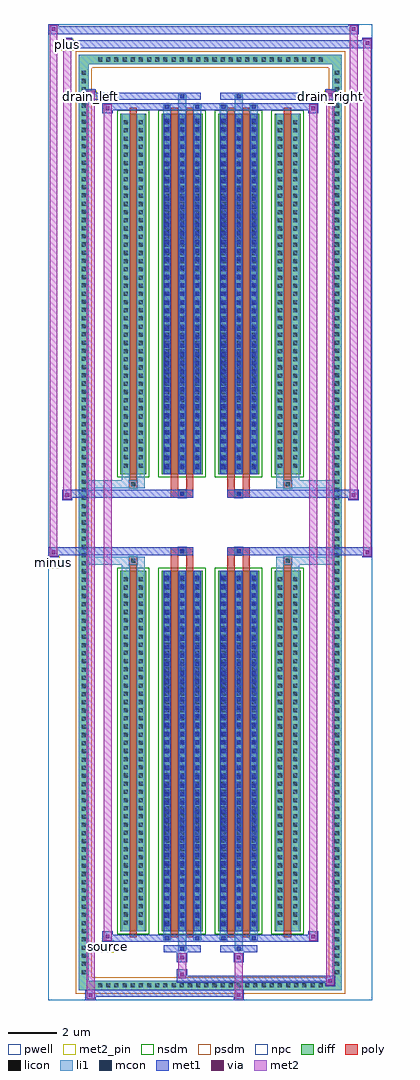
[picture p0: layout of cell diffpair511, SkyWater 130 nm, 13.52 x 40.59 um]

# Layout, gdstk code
import gdstk
lib = gdstk.Library(unit=1e-6, precision=5e-09)
def R(c, l, rs):  # rectangles x0, y0, x1, y1
    for r in rs: c.add(gdstk.rectangle(r[:2], r[2:], *l))
def A(c, l, x, y, w, h, nx, ny, dx, dy):  # array of equal rectangles
    R(c, l, [(x+i*dx, y+j*dy, x+i*dx+w, y+j*dy+h) for i in range(nx) for j in range(ny)])
def P(c, l, *ps):  # polygons
    for p in ps: c.add(gdstk.Polygon(p, *l))
pwell = (64, 44)
diff = (65, 20)
poly = (66, 20)
licon = (66, 44)
li1 = (67, 20)
mcon = (67, 44)
met1 = (68, 20)
via = (68, 44)
met2_pin = (69, 16)
met2 = (69, 20)
nsdm = (93, 44)
psdm = (94, 20)
npc = (95, 20)

diffpair511 = lib.new_cell('diffpair511')
R(diffpair511, pwell, [(-6.74,-19.86,6.74,20.73), (-4.06,-18.05,-0.01,-0.825), (0.01,-18.05,4.06,-0.825), (-4.06,0.825,-0.01,18.05), (0.01,0.825,4.06,18.05)])
A(diffpair511, diff, -4.795, -19.46, 0.41, 0.41, 28, 2, 0.34, 38.51)
A(diffpair511, diff, -5.47, -18.905, 0.41, 0.41, 1, 111, 0, 0.34)
A(diffpair511, diff, 5.06, -18.905, 0.41, 0.41, 1, 111, 0, 0.34)
R(diffpair511, diff, [(-4.795,-19.46,4.795,-19.05), (-5.47,-18.905,-5.06,18.905), (5.06,-18.905,5.47,18.905), (-3.75,-17.005,-2.67,-2.005), (-2.03,-17.005,-0.32,-2.005), (0.32,-17.005,2.03,-2.005), (2.67,-17.005,3.75,-2.005), (-3.75,2.005,-2.67,17.005), (-2.03,2.005,-0.32,17.005), (0.32,2.005,2.03,17.005), (2.67,2.005,3.75,17.005), (-4.795,19.05,4.795,19.46)])
P(diffpair511, diff, [(5.47,19.46),(-5.47,19.46),(-5.47,-19.05),(-5.06,-19.05),(-5.06,19.05),(5.06,19.05),(5.06,-19.05),(-5.06,-19.05),(-5.47,-19.05),(-5.47,-19.46),(5.47,-19.46)])
R(diffpair511, poly, [(-3.36,-17.255,-3.06,-1.755), (-1.64,-17.255,-1.34,-1.755), (-1.01,-17.255,-0.71,-1.755), (0.71,-17.255,1.01,-1.755), (1.34,-17.255,1.64,-1.755), (3.06,-17.255,3.36,-1.755), (-3.375,-1.755,-3.045,-1.425), (-3.375,-1.755,-3.045,-1.425), (-1.64,-1.755,-1.34,-1.355), (-1.01,-1.755,-0.71,-1.355), (0.71,-1.755,1.01,-1.355), (1.34,-1.755,1.64,-1.355), (3.045,-1.755,3.375,-1.425), (3.045,-1.755,3.375,-1.425), (-1.64,-1.355,-0.71,-1.025), (-1.34,-1.355,-1.01,-1.025), (0.71,-1.355,1.64,-1.025), (1.01,-1.355,1.34,-1.025), (-1.64,1.025,-0.71,1.355), (-1.34,1.025,-1.01,1.355), (0.71,1.025,1.64,1.355), (1.01,1.025,1.34,1.355), (-1.64,1.355,-1.34,1.755), (-1.01,1.355,-0.71,1.755), (0.71,1.355,1.01,1.755), (1.34,1.355,1.64,1.755), (-3.375,1.425,-3.045,1.755), (-3.375,1.425,-3.045,1.755), (3.045,1.425,3.375,1.755), (3.045,1.425,3.375,1.755), (-3.36,1.755,-3.06,17.255), (-1.64,1.755,-1.34,17.255), (-1.01,1.755,-0.71,17.255), (0.71,1.755,1.01,17.255), (1.34,1.755,1.64,17.255), (3.06,1.755,3.36,17.255)])
A(diffpair511, licon, -4.675, -19.34, 0.17, 0.17, 28, 2, 0.34, 38.51)
A(diffpair511, licon, -5.35, -18.785, 0.17, 0.17, 1, 111, 0, 0.34)
A(diffpair511, licon, 5.18, -18.785, 0.17, 0.17, 1, 111, 0, 0.34)
A(diffpair511, licon, -3.61, -16.73, 0.17, 0.17, 1, 43, 0, 0.34)
A(diffpair511, licon, -2.98, -16.73, 0.17, 0.17, 1, 43, 0, 0.34)
A(diffpair511, licon, -1.89, -16.73, 0.17, 0.17, 3, 43, 0.63, 0.34)
A(diffpair511, licon, 0.46, -16.73, 0.17, 0.17, 3, 43, 0.63, 0.34)
A(diffpair511, licon, 2.81, -16.73, 0.17, 0.17, 1, 43, 0, 0.34)
A(diffpair511, licon, 3.44, -16.73, 0.17, 0.17, 1, 43, 0, 0.34)
A(diffpair511, licon, -3.61, 2.28, 0.17, 0.17, 1, 43, 0, 0.34)
A(diffpair511, licon, -2.98, 2.28, 0.17, 0.17, 1, 43, 0, 0.34)
A(diffpair511, licon, -1.89, 2.28, 0.17, 0.17, 3, 43, 0.63, 0.34)
A(diffpair511, licon, 0.46, 2.28, 0.17, 0.17, 3, 43, 0.63, 0.34)
A(diffpair511, licon, 2.81, 2.28, 0.17, 0.17, 1, 43, 0, 0.34)
A(diffpair511, licon, 3.44, 2.28, 0.17, 0.17, 1, 43, 0, 0.34)
R(diffpair511, licon, [(-3.295,-1.675,-3.125,-1.505), (3.125,-1.675,3.295,-1.505), (-1.26,-1.275,-1.09,-1.105), (1.09,-1.275,1.26,-1.105), (-1.26,1.105,-1.09,1.275), (1.09,1.105,1.26,1.275), (-3.295,1.505,-3.125,1.675), (3.125,1.505,3.295,1.675)])
A(diffpair511, li1, -4.755, -19.42, 0.33, 0.33, 28, 2, 0.34, 38.51)
A(diffpair511, li1, -5.43, -18.865, 0.33, 0.33, 1, 111, 0, 0.34)
A(diffpair511, li1, 5.1, -18.865, 0.33, 0.33, 1, 111, 0, 0.34)
A(diffpair511, li1, -1.97, -17.005, 0.33, 15, 3, 2, 0.63, 19.01)
A(diffpair511, li1, 0.38, -17.005, 0.33, 15, 3, 2, 0.63, 19.01)
A(diffpair511, li1, -3.69, -16.81, 0.33, 0.33, 1, 43, 0, 0.34)
A(diffpair511, li1, -3.06, -16.81, 0.33, 0.33, 1, 43, 0, 0.34)
A(diffpair511, li1, -1.97, -16.81, 0.33, 0.33, 3, 43, 0.63, 0.34)
A(diffpair511, li1, 0.38, -16.81, 0.33, 0.33, 3, 43, 0.63, 0.34)
A(diffpair511, li1, 2.73, -16.81, 0.33, 0.33, 1, 43, 0, 0.34)
A(diffpair511, li1, 3.36, -16.81, 0.33, 0.33, 1, 43, 0, 0.34)
A(diffpair511, li1, -1.89, -16.79, 0.17, 0.17, 3, 41, 0.63, 0.36)
A(diffpair511, li1, -1.89, -16.79, 0.17, 14.57, 3, 2, 0.63, 19.01)
A(diffpair511, li1, 0.46, -16.79, 0.17, 0.17, 3, 41, 0.63, 0.36)
A(diffpair511, li1, 0.46, -16.79, 0.17, 14.57, 3, 2, 0.63, 19.01)
A(diffpair511, li1, -3.69, 2.2, 0.33, 0.33, 1, 43, 0, 0.34)
A(diffpair511, li1, -3.06, 2.2, 0.33, 0.33, 1, 43, 0, 0.34)
A(diffpair511, li1, -1.97, 2.2, 0.33, 0.33, 3, 43, 0.63, 0.34)
A(diffpair511, li1, 0.38, 2.2, 0.33, 0.33, 3, 43, 0.63, 0.34)
A(diffpair511, li1, 2.73, 2.2, 0.33, 0.33, 1, 43, 0, 0.34)
A(diffpair511, li1, 3.36, 2.2, 0.33, 0.33, 1, 43, 0, 0.34)
A(diffpair511, li1, -1.89, 2.22, 0.17, 0.17, 3, 41, 0.63, 0.36)
A(diffpair511, li1, 0.46, 2.22, 0.17, 0.17, 3, 41, 0.63, 0.36)
R(diffpair511, li1, [(-5.47,-19.46,-5.06,-19.05), (-5.47,-19.46,-5.06,-19.05), (-5.06,-19.46,5.06,-19.05), (5.06,-19.46,5.47,-19.05), (5.06,-19.46,5.47,-19.05), (-5.47,-19.05,-5.06,19.05), (5.06,-19.05,5.47,19.05), (-1.34,-17.81,-1.01,-17.005), (-1.26,-17.81,-1.09,-17.64), (1.01,-17.81,1.34,-17.005), (1.09,-17.81,1.26,-17.64), (-1.97,-17.38,-1.64,-17.005), (-1.89,-17.38,-1.72,-17.21), (-0.71,-17.38,-0.38,-17.005), (-0.63,-17.38,-0.46,-17.21), (0.38,-17.38,0.71,-17.005), (0.46,-17.38,0.63,-17.21), (1.64,-17.38,1.97,-17.005), (1.72,-17.38,1.89,-17.21), (-3.69,-17.005,-3.36,-2.005), (-3.06,-17.005,-2.73,-2.005), (2.73,-17.005,3.06,-2.005), (3.36,-17.005,3.69,-2.005), (-3.69,-2.005,-3.36,-1.425), (-3.06,-2.005,-2.73,-1.425), (2.73,-2.005,3.06,-1.425), (3.36,-2.005,3.69,-1.425), (-5.47,-1.755,-3.375,-1.425), (-3.69,-1.755,-3.375,-1.425), (-3.375,-1.755,-3.045,-1.425), (-3.045,-1.755,-2.73,-1.425), (2.73,-1.755,3.045,-1.425), (3.045,-1.755,3.375,-1.425), (3.045,-1.755,5.47,-1.425), (3.375,-1.755,3.69,-1.425), (-1.34,-1.355,-1.01,-1.025), (1.01,-1.355,1.34,-1.025), (-1.34,1.025,-1.01,1.355), (1.01,1.025,1.34,1.355), (-5.47,1.425,-3.375,1.755), (-3.69,1.425,-3.375,1.755), (-3.69,1.425,-3.36,2.005), (-3.375,1.425,-3.045,1.755), (-3.06,1.425,-2.73,2.005), (-3.045,1.425,-2.73,1.755), (2.73,1.425,3.045,1.755), (2.73,1.425,3.06,2.005), (3.045,1.425,3.375,1.755), (3.045,1.425,5.47,1.755), (3.36,1.425,3.69,2.005), (3.375,1.425,3.69,1.755), (-3.69,2.005,-3.36,17.005), (-3.06,2.005,-2.73,17.005), (2.73,2.005,3.06,17.005), (3.36,2.005,3.69,17.005), (-1.97,17.005,-1.64,17.38), (-1.34,17.005,-1.01,17.81), (-0.71,17.005,-0.38,17.38), (0.38,17.005,0.71,17.38), (1.01,17.005,1.34,17.81), (1.64,17.005,1.97,17.38), (-1.89,17.21,-1.72,17.38), (-0.63,17.21,-0.46,17.38), (0.46,17.21,0.63,17.38), (1.72,17.21,1.89,17.38), (-1.26,17.64,-1.09,17.81), (1.09,17.64,1.26,17.81), (-5.47,19.05,-5.06,19.46), (-5.47,19.05,-5.06,19.46), (-5.06,19.05,5.06,19.46), (5.06,19.05,5.47,19.46), (5.06,19.05,5.47,19.46)])
A(diffpair511, mcon, -1.89, -16.79, 0.17, 0.17, 3, 41, 0.63, 0.36)
A(diffpair511, mcon, 0.46, -16.79, 0.17, 0.17, 3, 41, 0.63, 0.36)
A(diffpair511, mcon, -1.89, 2.22, 0.17, 0.17, 3, 41, 0.63, 0.36)
A(diffpair511, mcon, 0.46, 2.22, 0.17, 0.17, 3, 41, 0.63, 0.36)
R(diffpair511, mcon, [(-1.26,-17.81,-1.09,-17.64), (1.09,-17.81,1.26,-17.64), (-1.89,-17.38,-1.72,-17.21), (-0.63,-17.38,-0.46,-17.21), (0.46,-17.38,0.63,-17.21), (1.72,-17.38,1.89,-17.21), (-1.26,-1.275,-1.09,-1.105), (1.09,-1.275,1.26,-1.105), (-1.26,1.105,-1.09,1.275), (1.09,1.105,1.26,1.275), (-1.89,17.21,-1.72,17.38), (-0.63,17.21,-0.46,17.38), (0.46,17.21,0.63,17.38), (1.72,17.21,1.89,17.38), (-1.26,17.64,-1.09,17.81), (1.09,17.64,1.26,17.81)])
A(diffpair511, met1, -1.95, -17.005, 0.29, 15, 3, 2, 0.63, 19.01)
A(diffpair511, met1, 0.4, -17.005, 0.29, 15, 3, 2, 0.63, 19.01)
A(diffpair511, met1, -1.95, -16.85, 0.29, 0.29, 3, 41, 0.63, 0.36)
A(diffpair511, met1, 0.4, -16.85, 0.29, 0.29, 3, 41, 0.63, 0.36)
A(diffpair511, met1, -1.95, 2.16, 0.29, 0.29, 3, 41, 0.63, 0.36)
A(diffpair511, met1, 0.4, 2.16, 0.29, 0.29, 3, 41, 0.63, 0.36)
R(diffpair511, met1, [(-5.2,-19.86,-4.77,-19.43), (0.96,-19.86,1.39,-19.43), (-5.2,-19.72,1.39,-19.43), (4.77,-19.29,5.2,-18.86), (-1.39,-19.15,5.2,-18.86), (-1.39,-19.01,-0.96,-18.58), (-1.39,-18.3,-0.96,-17.87), (0.96,-18.3,1.39,-17.87), (-1.95,-17.87,-0.4,-17.58), (-1.32,-17.87,-1.03,-17.58), (0.4,-17.87,1.95,-17.58), (1.03,-17.87,1.32,-17.58), (-4.49,-17.44,-4.06,-17.01), (-4.49,-17.44,-1.95,-17.15), (-1.95,-17.44,-1.66,-17.15), (-1.95,-17.44,-0.4,-17.15), (-0.69,-17.44,-0.4,-17.15), (-0.4,-17.44,0.4,-17.15), (0.4,-17.44,0.69,-17.15), (0.4,-17.44,1.95,-17.15), (1.66,-17.44,1.95,-17.15), (1.95,-17.44,4.49,-17.15), (4.06,-17.44,4.49,-17.01), (-6.74,-1.455,-6.31,-1.025), (6.31,-1.455,6.74,-1.025), (-6.74,-1.355,-0.71,-1.025), (-1.64,-1.355,-0.71,-1.025), (0.71,-1.355,1.64,-1.025), (0.71,-1.355,6.74,-1.025), (-1.32,-1.335,-1.03,-1.045), (1.03,-1.335,1.32,-1.045), (-6.17,0.925,-5.74,1.355), (5.74,0.925,6.17,1.355), (-6.17,1.025,-1.64,1.355), (-1.64,1.025,-0.71,1.355), (0.71,1.025,1.64,1.355), (1.64,1.025,6.17,1.355), (-1.32,1.045,-1.03,1.335), (1.03,1.045,1.32,1.335), (-4.49,17.01,-4.06,17.44), (4.06,17.01,4.49,17.44), (-4.49,17.15,-1.95,17.44), (-1.95,17.15,-1.66,17.44), (-1.95,17.15,-0.4,17.44), (-0.69,17.15,-0.4,17.44), (-0.4,17.15,0.4,17.44), (0.4,17.15,0.69,17.44), (0.4,17.15,1.95,17.44), (1.66,17.15,1.95,17.44), (1.95,17.15,4.49,17.44), (-5.2,17.58,-4.77,18.01), (-5.2,17.58,-1.95,17.87), (-1.95,17.58,-0.4,17.87), (-1.32,17.58,-1.03,17.87), (0.4,17.58,1.95,17.87), (1.03,17.58,1.32,17.87), (1.95,17.58,5.2,17.87), (4.77,17.58,5.2,18.01), (-6.17,19.73,-5.74,20.16), (-6.17,19.73,-4.06,20.06), (-4.06,19.73,4.06,20.06), (4.06,19.73,6.74,20.06), (6.31,19.73,6.74,20.16), (-6.74,20.3,-6.31,20.73), (-6.74,20.3,-4.06,20.63), (-4.06,20.3,4.06,20.63), (4.06,20.3,6.17,20.63), (5.74,20.3,6.17,20.73)])
R(diffpair511, via, [(-5.06,-19.72,-4.91,-19.57), (1.1,-19.72,1.25,-19.57), (4.91,-19.15,5.06,-19), (-1.25,-18.87,-1.1,-18.72), (-1.25,-18.16,-1.1,-18.01), (1.1,-18.16,1.25,-18.01), (-4.35,-17.3,-4.2,-17.15), (4.2,-17.3,4.35,-17.15), (-6.6,-1.315,-6.45,-1.165), (6.45,-1.315,6.6,-1.165), (-6.03,1.065,-5.88,1.215), (5.88,1.065,6.03,1.215), (-4.35,17.15,-4.2,17.3), (4.2,17.15,4.35,17.3), (-5.06,17.72,-4.91,17.87), (4.91,17.72,5.06,17.87), (-6.03,19.87,-5.88,20.02), (6.45,19.87,6.6,20.02), (-6.6,20.44,-6.45,20.59), (5.88,20.44,6.03,20.59)])
R(diffpair511, met2_pin, [(-4.525,-17.89,-4.025,-17.39), (-6.775,-1.905,-6.275,-1.405), (-5.235,17.46,-4.735,17.96), (4.735,17.46,5.235,17.96), (-6.205,19.61,-5.705,20.11)])
R(diffpair511, met2, [(-5.15,-19.81,-4.82,-19.48), (-5.15,-19.81,-4.82,17.96), (1.01,-19.81,1.34,-19.48), (1.01,-19.48,1.34,-18.25), (4.82,-19.24,5.15,-18.91), (4.82,-19.24,5.15,17.96), (-1.34,-18.96,-1.01,-18.63), (-1.34,-18.63,-1.01,-18.25), (-1.34,-18.25,-1.01,-17.92), (1.01,-18.25,1.34,-17.92), (-4.44,-17.39,-4.11,-17.06), (-4.44,-17.39,-4.11,17.39), (4.11,-17.39,4.44,-17.06), (4.11,-17.39,4.44,17.39), (-6.69,-1.405,-6.36,-1.075), (-6.69,-1.405,-6.36,20.68), (6.36,-1.405,6.69,-1.075), (6.36,-1.405,6.69,20.11), (-6.12,0.975,-5.79,1.305), (-6.12,0.975,-5.79,20.11), (5.79,0.975,6.12,1.305), (5.79,0.975,6.12,20.68), (-4.44,17.06,-4.11,17.39), (4.11,17.06,4.44,17.39), (-5.15,17.63,-4.82,17.96), (4.82,17.63,5.15,17.96), (-6.12,19.78,-5.79,20.11), (6.36,19.78,6.69,20.11), (-6.69,20.35,-6.36,20.68), (5.79,20.35,6.12,20.68)])
P(diffpair511, met2, [(6.69,-1.405),(6.69,-1.405),(6.69,-1.075),(6.69,-1.075)],
  [(6.69,19.78),(6.69,19.78),(6.69,20.11),(6.69,20.11)],
  [(-6.36,-1.405),(-6.36,-1.405),(-6.36,-1.075),(-6.36,-1.075)],
  [(-6.36,20.35),(-6.36,20.35),(-6.36,20.68),(-6.36,20.68)],
  [(6.12,0.975),(6.12,0.975),(6.12,1.305),(6.12,1.305)],
  [(6.12,20.35),(6.12,20.35),(6.12,20.68),(6.12,20.68)],
  [(-5.79,0.975),(-5.79,0.975),(-5.79,1.305),(-5.79,1.305)],
  [(-5.79,19.78),(-5.79,19.78),(-5.79,20.11),(-5.79,20.11)],
  [(-4.82,-19.81),(-4.82,-19.81),(-4.82,-19.48),(-4.82,-19.48)],
  [(-4.82,17.63),(-4.82,17.63),(-4.82,17.96),(-4.82,17.96)],
  [(5.15,-19.24),(5.15,-19.24),(5.15,-18.91),(5.15,-18.91)],
  [(5.15,17.63),(5.15,17.63),(5.15,17.96),(5.15,17.96)],
  [(-4.11,-17.39),(-4.11,-17.39),(-4.11,-17.06),(-4.11,-17.06)],
  [(-4.11,17.06),(-4.11,17.06),(-4.11,17.39),(-4.11,17.39)],
  [(4.44,-17.39),(4.44,-17.39),(4.44,-17.06),(4.44,-17.06)],
  [(4.44,17.06),(4.44,17.06),(4.44,17.39),(4.44,17.39)])
R(diffpair511, nsdm, [(-3.88,-17.135,-2.54,-1.875), (-2.16,-17.135,-0.19,-1.875), (0.19,-17.135,2.16,-1.875), (2.54,-17.135,3.88,-1.875), (-3.88,1.875,-2.54,17.135), (-2.16,1.875,-0.19,17.135), (0.19,1.875,2.16,17.135), (2.54,1.875,3.88,17.135)])
P(diffpair511, psdm, [(5.6,19.59),(-5.6,19.59),(-5.6,-18.92),(-4.93,-18.92),(-4.93,18.92),(4.93,18.92),(4.93,-18.92),(-4.93,-18.92),(-5.6,-18.92),(-5.6,-19.59),(5.6,-19.59)])
R(diffpair511, npc, [(-3.395,-1.775,-3.025,-1.405), (3.025,-1.775,3.395,-1.405), (-1.36,-1.375,-0.99,-1.005), (0.99,-1.375,1.36,-1.005), (-1.36,1.005,-0.99,1.375), (0.99,1.005,1.36,1.375), (-3.395,1.405,-3.025,1.775), (3.025,1.405,3.395,1.775)])
diffpair511.add(gdstk.Label('minus', (-6.525,-1.655), layer=69, texttype=5))
diffpair511.add(gdstk.Label('drain_right', (4.985,17.71), layer=69, texttype=5))
diffpair511.add(gdstk.Label('drain_left', (-4.985,17.71), layer=69, texttype=5))
diffpair511.add(gdstk.Label('source', (-4.275,-17.64), layer=69, texttype=5))
diffpair511.add(gdstk.Label('plus', (-5.955,19.86), layer=69, texttype=5))

lib.write_gds('diffpair511.gds')
